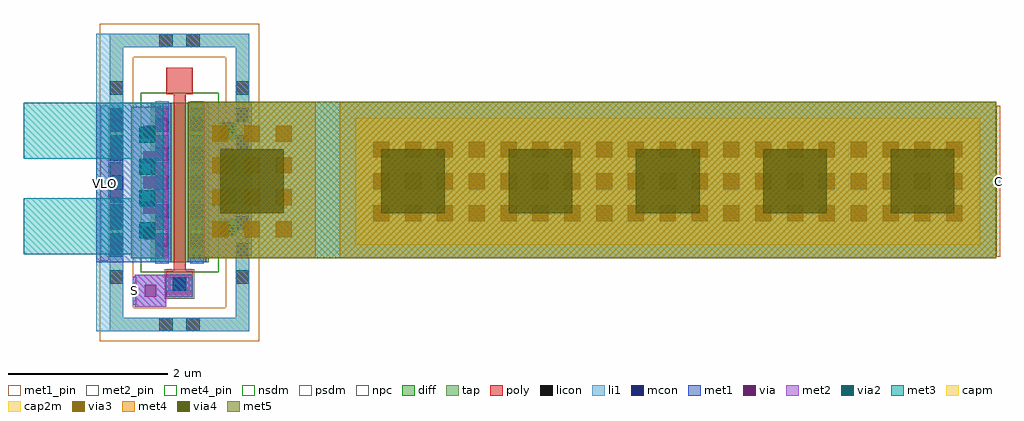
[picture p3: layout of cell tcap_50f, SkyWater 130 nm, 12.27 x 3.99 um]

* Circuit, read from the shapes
.subckt tcap_50f C S VLO
XM1 n1 S VLO VLO sky130_fd_pr__nfet_01v8 w=2 l=0.15
XC2 C n1 sky130_fd_pr__cap_mim_m3_1 w=7.85 l=1.6
XC3 n1 C sky130_fd_pr__cap_mim_m3_2 w=7.85 l=1.6
.ends

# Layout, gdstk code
import gdstk
lib = gdstk.Library(unit=1e-6, precision=1e-09)
def R(c, l, rs):  # rectangles x0, y0, x1, y1
    for r in rs: c.add(gdstk.rectangle(r[:2], r[2:], *l))
def A(c, l, x, y, w, h, nx, ny, dx, dy):  # array of equal rectangles
    R(c, l, [(x+i*dx, y+j*dy, x+i*dx+w, y+j*dy+h) for i in range(nx) for j in range(ny)])
diff = (65, 20)
tap = (65, 44)
poly = (66, 20)
licon = (66, 44)
li1 = (67, 20)
mcon = (67, 44)
met1_pin = (68, 16)
met1 = (68, 20)
via = (68, 44)
met2_pin = (69, 16)
met2 = (69, 20)
via2 = (69, 44)
met3 = (70, 20)
via3 = (70, 44)
met4_pin = (71, 16)
met4 = (71, 20)
via4 = (71, 44)
met5 = (72, 20)
capm = (89, 44)
nsdm = (93, 44)
psdm = (94, 20)
npc = (95, 20)
cap2m = (97, 44)

tcap_50f = lib.new_cell('tcap_50f')
R(tcap_50f, diff, [(0.425,0.785,1.155,2.785)])
R(tcap_50f, tap, [(-0.085,-0.085,1.665,0.085), (-0.085,0.085,0.085,3.485), (1.495,0.085,1.665,3.485), (-0.085,3.485,1.665,3.655)])
R(tcap_50f, poly, [(0.625,0.345,0.955,0.675), (0.715,0.675,0.865,2.895), (0.625,2.895,0.955,3.225)])
A(tcap_50f, licon, -0.085, 0.51, 0.17, 0.17, 1, 8, 0, 0.34)
A(tcap_50f, licon, 1.495, 0.51, 0.17, 0.17, 1, 8, 0, 0.34)
A(tcap_50f, licon, 0.485, 0.85, 0.17, 0.17, 1, 6, 0, 0.34)
A(tcap_50f, licon, 0.925, 0.85, 0.17, 0.17, 1, 6, 0, 0.34)
R(tcap_50f, licon, [(0.535,-0.085,0.705,0.085), (0.875,-0.085,1.045,0.085), (0.705,0.425,0.875,0.595), (0.535,3.485,0.705,3.655), (0.875,3.485,1.045,3.655)])
R(tcap_50f, li1, [(-0.255,-0.085,1.665,0.085), (-0.255,0.085,0.085,3.485), (1.495,0.085,1.665,3.485), (0.625,0.425,0.955,0.595), (0.485,0.765,0.655,2.805), (0.925,0.765,1.095,2.805), (-0.255,3.485,1.665,3.655)])
A(tcap_50f, mcon, -0.085, 0.98, 0.17, 0.17, 1, 5, 0, 0.36)
A(tcap_50f, mcon, 0.485, 0.98, 0.17, 0.17, 1, 5, 0, 0.36)
A(tcap_50f, mcon, 0.925, 0.98, 0.17, 0.17, 1, 5, 0, 0.36)
R(tcap_50f, mcon, [(0.705,0.425,0.875,0.595)])
R(tcap_50f, met1_pin, [(-0.2,0.8,-0.1,2.75)])
R(tcap_50f, met1, [(0.225,0.225,0.625,0.345), (0.225,0.345,0.955,0.625), (-0.255,0.785,0.685,2.785), (0.895,0.785,1.125,0.85), (0.895,0.85,1.7,2.785), (1.1,2.785,1.7,2.8)])
A(tcap_50f, via, 0.335, 1.07, 0.15, 0.15, 1, 5, 0, 0.32)
A(tcap_50f, via, 1.325, 1.11, 0.15, 0.15, 1, 5, 0, 0.32)
R(tcap_50f, via, [(0.35,0.35,0.5,0.5)])
R(tcap_50f, met2_pin, [(0.2,0.25,0.25,0.6)])
R(tcap_50f, met2, [(0.225,0.225,0.625,0.25), (0.2,0.25,0.625,0.6), (0.225,0.6,0.625,0.625), (0.185,0.835,0.635,2.735), (1.1,0.85,1.7,2.8)])
A(tcap_50f, via2, 0.285, 1.085, 0.2, 0.2, 1, 4, 0, 0.4)
A(tcap_50f, via2, 1.3, 1.125, 0.2, 0.2, 1, 4, 0, 0.4)
R(tcap_50f, met3, [(0.9,0.83,11.05,2.8), (0.185,0.835,0.585,0.885), (-1.165,0.885,0.585,1.585), (0.185,1.585,0.585,2.085), (-1.165,2.085,0.585,2.785)])
A(tcap_50f, via3, 1.2, 1.1, 0.2, 0.2, 3, 4, 0.4, 0.4)
A(tcap_50f, via3, 3.225, 1.3, 0.2, 0.2, 19, 3, 0.4, 0.4)
R(tcap_50f, met4_pin, [(11.05,0.85,11.1,2.75)])
R(tcap_50f, met4, [(0.9,0.83,2.5,2.8), (2.8,0.83,11.05,0.85), (2.8,0.85,11.1,2.75), (2.8,2.75,11.05,2.8)])
A(tcap_50f, via4, 3.325, 1.4, 0.8, 0.8, 5, 1, 1.6, 0)
R(tcap_50f, via4, [(1.3,1.4,2.1,2.2)])
R(tcap_50f, met5, [(0.9,0.83,11.05,2.8)])
R(tcap_50f, capm, [(3,1,10.85,2.6)])
R(tcap_50f, nsdm, [(0.3,0.66,1.28,2.91)])
R(tcap_50f, psdm, [(-0.21,-0.21,1.79,0.21), (-0.21,0.21,0.21,3.36), (1.37,0.21,1.79,3.36), (-0.21,3.36,1.79,3.78)])
R(tcap_50f, npc, [(0.605,0.325,0.975,0.695)])
R(tcap_50f, cap2m, [(3,1,10.85,2.6)])
tcap_50f.add(gdstk.Label('VLO', (-0.15,1.775), layer=68, texttype=16))
tcap_50f.add(gdstk.Label('S', (0.225,0.425), layer=69, texttype=16))
tcap_50f.add(gdstk.Label('C', (11.075,1.8), layer=71, texttype=16))

lib.write_gds('tcap_50f.gds')
